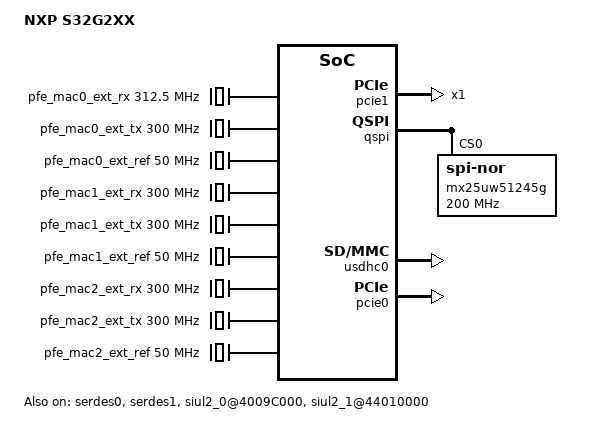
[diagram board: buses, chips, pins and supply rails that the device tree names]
// SPDX-License-Identifier: GPL-2.0+
/*
 * Copyright 2017-2021 NXP
 *
 * This program is free software; you can redistribute it and/or modify
 * it under the terms of the GNU General Public License as published by
 * the Free Software Foundation; either version 2 of the License, or
 * (at your option) any later version.
 */
#include <dt-bindings/clock/s32g-clock.h>
#include <dt-bindings/clock/s32g-scmi-clock.h>
#include <dt-bindings/pinctrl/s32g-pinctrl.h>

/dts-v1/;
#include "fsl-s32-gen1.dtsi"
/ {
	model = "NXP S32G2XX";
	compatible = "fsl,s32g", "fsl,s32gen1", "arm,vexpress,v2p-aarch64",
				"arm,vexpress";

	aliases {
		pcie1 = &pcie1;
	};

	signature {
		key-boot_key {
			required = "conf";
			algo = "sha1,rsa2048";
			key-name-hint = "boot_key";
		};
	};

	serdes1: serdes@44180000 {
		compatible = "fsl,s32gen1-serdes";
		reg = <0x00 0x44100000 0x0 0x80000   /* dbi registers */
		       0x00 0x44180000 0x0 0x04000>; /* serdes registers */
		reg-names = "dbi", "ss";
		#address-cells = <3>;
		#size-cells = <2>;
		device_type = "pci-generic";
		device_id = <1>;
		num-lanes = <2>; /* supports max 2 lanes */
		clocks = <&clks S32GEN1_SCMI_CLK_SERDES_REF>;

		assigned-clocks =
			<&clks S32G_CLK_SERDES1_LANE0_TX>,
			<&clks S32G_CLK_SERDES1_LANE0_CDR>,
			<&clks S32G_CLK_SERDES1_LANE1_TX>,
			<&clks S32G_CLK_SERDES1_LANE1_CDR>;
		assigned-clock-parents =
			<&serdes1_lane0_ext_tx 0>,
			<&serdes1_lane0_ext_cdr 0>,
			<&serdes1_lane1_ext_tx 0>,
			<&serdes1_lane1_ext_cdr 0>;

		status = "okay";
	};

	ddr: ddr@403C0000 {
		compatible = "fsl,s32gen1-ddr-err050543";
		/* Will be modified by ATF */
		status = "disabled";
	};

	pcie1: pcie@44100000 {
		compatible = "fsl,s32gen1-pcie";
		reg =
			<0x00 0x44100000 0x0 0x80000   /* dbi registers */
			/* configuration space, 4KB each for cfg0 and cfg1
			 * at the end of the outbound memory map
			 */
			0x4f 0xffffe000 0x0 0x00002000>;
		reg-names = "dbi", "config";
		#address-cells = <3>;
		#size-cells = <2>;
		device_type = "pci";
		serdes-handle = <&serdes1>;
		device_id = <1>;
		num-lanes = <1>; /* supports max 1 pcie lane */
		link-speed = <3>; /* supports Gen3 speed */
		bus-range = <0x0 0xff>;
		ranges =
			/* downstream I/O, 64KB and aligned naturally just before
			 * the config space to minimize fragmentation
			 */
			<0x81000000 0x0 0x00000000 0x4f 0xfffe0000 0x0 0x00010000
			/* non-prefetchable memory, with best case size
			 * and alignment
			 */
			 0x82000000 0x0 0x00000000 0x48 0x00000000 0x7 0xfffe0000>;
		status = "disabled";
	};

	pfe_mac0_ext_rx: pfe_mac0_ext_rx@0 {
		compatible = "fixed-clock";
		clock-frequency = <312500000>;
		#clock-cells = <1>;
	};

	pfe_mac0_ext_tx: pfe_mac0_ext_tx@0 {
		compatible = "fixed-clock";
		clock-frequency = <300000000>;
		#clock-cells = <1>;
	};

	pfe_mac0_ext_ref: pfe_mac0_ext_ref@0 {
		compatible = "fixed-clock";
		clock-frequency = <50000000>;
		#clock-cells = <1>;
	};

	pfe_mac1_ext_rx: pfe_mac1_ext_rx@0 {
		compatible = "fixed-clock";
		clock-frequency = <300000000>;
		#clock-cells = <1>;
	};

	pfe_mac1_ext_tx: pfe_mac1_ext_tx@0 {
		compatible = "fixed-clock";
		clock-frequency = <300000000>;
		#clock-cells = <1>;
	};

	pfe_mac1_ext_ref: pfe_mac1_ext_ref@0 {
		compatible = "fixed-clock";
		clock-frequency = <50000000>;
		#clock-cells = <1>;
	};

	pfe_mac2_ext_rx: pfe_mac2_ext_rx@0 {
		compatible = "fixed-clock";
		clock-frequency = <300000000>;
		#clock-cells = <1>;
	};

	pfe_mac2_ext_tx: pfe_mac2_ext_tx@0 {
		compatible = "fixed-clock";
		clock-frequency = <300000000>;
		#clock-cells = <1>;
	};

	pfe_mac2_ext_ref: pfe_mac2_ext_ref@0 {
		compatible = "fixed-clock";
		clock-frequency = <50000000>;
		#clock-cells = <1>;
	};

	pfe: ethernet@46080000 {
		compatible = "fsl,s32g274a-pfe";
		reg = <0x0 0x46000000 0x0 0x1000000>;
		clocks = <&clks S32G_SCMI_CLK_PFE_PE>,
			/* PFE0 */
			<&clks S32G_SCMI_CLK_PFE0_RX_SGMII>,
			<&clks S32G_SCMI_CLK_PFE0_TX_SGMII>,
			<&clks S32G_SCMI_CLK_PFE0_RX_RGMII>,
			<&clks S32G_SCMI_CLK_PFE0_TX_RGMII>,
			/* PFE1 */
			<&clks S32G_SCMI_CLK_PFE1_RX_SGMII>,
			<&clks S32G_SCMI_CLK_PFE1_TX_SGMII>,
			<&clks S32G_SCMI_CLK_PFE1_RX_RGMII>,
			<&clks S32G_SCMI_CLK_PFE1_TX_RGMII>,
			/* PFE2 */
			<&clks S32G_SCMI_CLK_PFE2_RX_SGMII>,
			<&clks S32G_SCMI_CLK_PFE2_TX_SGMII>,
			<&clks S32G_SCMI_CLK_PFE2_RX_RGMII>,
			<&clks S32G_SCMI_CLK_PFE2_TX_RGMII>;
		clock-names = "pe",
			"mac0_rx_sgmii", "mac0_tx_sgmii",
			"mac0_rx_rgmii", "mac0_tx_rgmii",
			"mac1_rx_sgmii", "mac1_tx_sgmii",
			"mac1_rx_rgmii", "mac1_tx_rgmii",
			"mac2_rx_sgmii", "mac2_tx_sgmii",
			"mac2_rx_rgmii", "mac2_tx_rgmii";
		pinctrl-0 = <&pinctrl0_pfe0 &pinctrl0_pfe0_mdio &pinctrl1_pfe0
			&pinctrl1_pfe0_mdio>;
		pinctrl-1 = <&pinctrl0_pfe0_mdio &pinctrl1_pfe0_mdio>;
		pinctrl-2 = <&pinctrl0_pfe1 &pinctrl0_pfe1_mdio &pinctrl1_pfe1
			&pinctrl1_pfe1_mdio>;
		pinctrl-3 = <&pinctrl0_pfe1_mdio &pinctrl1_pfe1_mdio>;
		pinctrl-4 = <&pinctrl0_pfe2 &pinctrl0_pfe2_mdio &pinctrl1_pfe2
			&pinctrl1_pfe2_mdio>;
		pinctrl-5 = <&pinctrl0_pfe2_mdio &pinctrl1_pfe2_mdio>;
		pinctrl-names = "pfe0_rgmii", "pfe0_sgmii",
			"pfe1_rgmii", "pfe1_sgmii",
			"pfe2_rgmii", "pfe2_sgmii";
		status = "disabled";
	};

	siul2_0@4009C000 {
		compatible = "simple-mfd";
		status = "okay";
		reg = <0x0 0x4009C000 0x0 0x2000>;

		pinctrl0: siul2-pinctrl0 {
			compatible = "fsl,s32-gen1-siul2-pinctrl";
			#pinctrl-cells = <2>;
			/* MSCR range */
			pins = <&pinctrl0 0 101>,
			/* IMCR range */
			<&pinctrl0 512 595>;
			status = "okay";
		};

		gpio0: siul2-gpio0 {
			compatible = "fsl,s32-gen1-siul2-gpio";
			#gpio-cells = <2>;
			gpio-controller;
			gpio-ranges = <&pinctrl0 0 0 102>;
			status = "okay";
		};
	};

	siul2_1@44010000 {
		compatible = "simple-mfd";
		status = "okay";
		reg = <0x0 0x44010000 0x0 0x2000>;

		pinctrl1: siul2-pinctrl1 {
			compatible = "fsl,s32-gen1-siul2-pinctrl";
			#pinctrl-cells = <2>;
			/* MSCR range */
			pins = <&pinctrl1 112 190>,
			/* IMCR range */
			<&pinctrl1 631 1023>;
			status = "okay";
		};

		gpio1: siul2-gpio1 {
			compatible = "fsl,s32-gen1-siul2-gpio";
			#gpio-cells = <2>;
			gpio-controller;
			gpio-ranges = <&pinctrl1 0 112 11>,
				<&pinctrl1 11 144 47>;
			status = "okay";
		};
	};
};

&clks {
	clocks = <&clks S32GEN1_SCMI_CLK_FTM0_SYS>,
		<&clks S32GEN1_SCMI_CLK_FTM1_SYS>,
		<&clks S32GEN1_SCMI_CLK_FTM0_EXT>,
		<&clks S32GEN1_SCMI_CLK_FTM1_EXT>,
		<&clks S32GEN1_SCMI_CLK_FLEXCAN_CAN>,
		<&clks S32GEN1_SCMI_CLK_SPI_REG>,
		<&clks S32GEN1_SCMI_CLK_QSPI_FLASH1X>;

	mc_cgm2: mc_cgm2@44018000 {
		compatible = "fsl,s32gen1-mc_cgm2";
		reg = <0x0 0x44018000 0x0 0x3000>;

		assigned-clocks =
			<&clks S32G_CLK_PFE_MAC0_EXT_REF>,
			<&clks S32G_CLK_PFE_MAC1_EXT_REF>,
			<&clks S32G_CLK_PFE_MAC2_EXT_REF>,
			<&clks S32G_CLK_MC_CGM2_MUX0>,
			/* PFE MAC0 */
			<&clks S32G_CLK_MC_CGM2_MUX7>,
			<&clks S32G_CLK_MC_CGM2_MUX4>,
			<&clks S32G_CLK_MC_CGM2_MUX1>,
			/* PFE MAC1 */
			<&clks S32G_CLK_MC_CGM2_MUX8>,
			<&clks S32G_CLK_MC_CGM2_MUX5>,
			<&clks S32G_CLK_MC_CGM2_MUX2>,
			/* PFE MAC2 */
			<&clks S32G_CLK_MC_CGM2_MUX9>,
			<&clks S32G_CLK_MC_CGM2_MUX6>,
			<&clks S32G_CLK_MC_CGM2_MUX3>,

			<&clks S32G_CLK_PFE_PE>,
			<&clks S32G_CLK_PFE_MAC0_REF_DIV>,
			<&clks S32G_CLK_PFE_MAC0_RX>,
			<&clks S32G_CLK_PFE_MAC0_TX_DIV>,
			<&clks S32G_CLK_PFE_MAC1_REF_DIV>,
			<&clks S32G_CLK_PFE_MAC1_RX>,
			<&clks S32G_CLK_PFE_MAC1_TX>,
			<&clks S32G_CLK_PFE_MAC2_REF_DIV>,
			<&clks S32G_CLK_PFE_MAC2_RX>,
			<&clks S32G_CLK_PFE_MAC2_TX>;
		assigned-clock-parents =
			<&pfe_mac0_ext_ref 0>,
			<&pfe_mac1_ext_ref 0>,
			<&pfe_mac2_ext_ref 0>,
			<&clks S32G_CLK_ACCEL_PLL_PHI1>,
			/* PFE MAC0 */
			<&clks S32G_CLK_PFE_MAC0_EXT_REF>,
			<&clks S32G_CLK_SERDES1_LANE0_CDR>,
			<&clks S32G_CLK_SERDES1_LANE0_TX>,
			/* PFE MAC1 */
			<&clks S32G_CLK_PFE_MAC1_EXT_REF>,
			<&clks S32G_CLK_SERDES1_LANE1_CDR>,
			<&clks S32G_CLK_SERDES1_LANE1_TX>,
			/* PFE MAC2 */
			<&clks S32G_CLK_PFE_MAC2_EXT_REF>,
			<&clks S32G_CLK_SERDES0_LANE1_CDR>,
			<&clks S32G_CLK_SERDES0_LANE1_TX>;
		assigned-clock-rates =
			<0>, <0>, <0>, <0>, <0>, <0>, <0>,
			<0>, <0>, <0>, <0>, <0>, <0>,
			<600000000>,
			<50000000>,
			<125000000>,
			<125000000>,
			<50000000>,
			<125000000>,
			<125000000>,
			<50000000>,
			<125000000>,
			<125000000>;

	};
};

&accelpll {
	assigned-clocks =
		<&clks S32GEN1_CLK_ACCEL_PLL_MUX>,
		<&clks S32GEN1_CLK_ACCEL_PLL_VCO>,
		<&clks S32G_CLK_ACCEL_PLL_PHI0>,
		<&clks S32G_CLK_ACCEL_PLL_PHI1>;
	assigned-clock-parents =
		<&clks S32GEN1_CLK_FXOSC>;
	assigned-clock-rates =
		<0>,
		<1800000000>,
		<600000000>,
		<600000000>;
};

&gmac0 {
	clocks = <&clks S32GEN1_SCMI_CLK_GMAC0_RX_SGMII>,
		 <&clks S32GEN1_SCMI_CLK_GMAC0_TX_SGMII>,
		 <&clks S32GEN1_SCMI_CLK_GMAC0_TS_SGMII>,
		 <&clks S32GEN1_SCMI_CLK_GMAC0_RX_RGMII>,
		 <&clks S32GEN1_SCMI_CLK_GMAC0_TX_RGMII>,
		 <&clks S32GEN1_SCMI_CLK_GMAC0_TS_RGMII>,
		 <&clks S32GEN1_SCMI_CLK_GMAC0_AXI>;
	clock-names = "rx_sgmii", "tx_sgmii", "ts_sgmii",
		      "rx_rgmii", "tx_rgmii", "ts_rgmii",
		      "axi";
	pinctrl-0 = <&pinctrl0_gmac0 &pinctrl0_gmac0_mdio>;
	pinctrl-1 = <&pinctrl0_gmac0_mdio>;
	pinctrl-names = "gmac_rgmii", "gmac_sgmii";
};

&qspi {
	status = "okay";

	mx25uw51245g@0 {
		#address-cells = <1>;
		#size-cells = <1>;
		compatible = "jedec,spi-nor";
		spi-max-frequency = <200000000>;
		spi-tx-bus-width = <8>;
		spi-rx-bus-width = <8>;
		reg = <0>;
	};
};

&usdhc0 {
	status = "okay";
};

&pcie0 {
	status = "okay";

	link-speed = <3>; /* Gen3 */
};

&pcie1 {
	status = "okay";

	link-speed = <2>; /* Gen2 */
};

&serdes0 {
	assigned-clocks =
		<&clks S32GEN1_CLK_SERDES0_LANE0_TX>,
		<&clks S32GEN1_CLK_SERDES0_LANE0_CDR>,
		<&clks S32G_CLK_SERDES0_LANE1_TX>,
		<&clks S32G_CLK_SERDES0_LANE1_CDR>;

	assigned-clock-parents =
		<&serdes0_lane0_ext_tx 0>,
		<&serdes0_lane0_ext_cdr 0>,
		<&serdes0_lane1_ext_tx 0>,
		<&serdes0_lane1_ext_cdr 0>;

	status = "okay";
};

&pinctrl0 {
	board_generic_pinctrl0 {
		pinctrl0_gmac0_mdio: pinctrl0_gmac0_mdio {
			fsl,pins = <PD12_MSCR_S32G PD12_GMAC0_MDC_CFG
				    PD13_MSCR_S32G PD13_GMAC0_MDIO_CFG
				    GMAC0_MDIO_IMCR PD13_GMAC0_MDIO_IN
				    >;
		};

		pinctrl0_gmac0: pinctrl0_gmac0 {
			fsl,pins = <PE02_MSCR_S32G PE02_GMAC0_TX_CLK_CFG
				    PE03_MSCR_S32G PE03_GMAC0_TX_EN_CFG
				    PE04_MSCR_S32G PE04_GMAC0_TX_D0_CFG
				    PE05_MSCR_S32G PE05_GMAC0_TX_D1_CFG
				    PE06_MSCR_S32G PE06_GMAC0_TX_D2_CFG
				    PE07_MSCR_S32G PE07_GMAC0_TX_D3_CFG
				    PE08_MSCR_S32G PE08_GMAC0_RX_CLK_CFG
				    PE09_MSCR_S32G PE09_GMAC0_RX_DV_CFG
				    PE10_MSCR_S32G PE10_GMAC0_RX_D0_CFG
				    PE11_MSCR_S32G PE11_GMAC0_RX_D1_CFG
				    PE12_MSCR_S32G PE12_GMAC0_RX_D2_CFG
				    PE13_MSCR_S32G PE13_GMAC0_RX_D3_CFG
				    GMAC0_TX_CLK_IMCR PE02_GMAC0_TX_CLK_IN
				    GMAC0_RX_CLK_IMCR PE08_GMAC0_RX_CLK_IN
				    GMAC0_RX_DV_IMCR PE09_GMAC0_RX_DV_IN
				    GMAC0_RX_D0_IMCR PE10_GMAC0_RX_D0_IN
				    GMAC0_RX_D1_IMCR PE11_GMAC0_RX_D1_IN
				    GMAC0_RX_D2_IMCR PE12_GMAC0_RX_D2_IN
				    GMAC0_RX_D3_IMCR PE13_GMAC0_RX_D3_IN
				    >;
		};

		pinctrl0_pfe0_mdio: pinctrl0_pfe0_mdio {
			fsl,pins = <PE15_MSCR_S32G PE15_PFE0_MDIO_CFG
				    PF02_MSCR_S32G PF02_PFE0_MDC_CFG
				    >;
		};

		pinctrl0_pfe0: pinctrl0_pfe0 {
			fsl,pins = <PE14_MSCR_S32G PE14_PFE0_TX_EN_CFG>;
		};

		pinctrl0_pfe1_mdio: pinctrl0_pfe1_mdio {
			fsl,pins = <PD12_MSCR_S32G PD12_PFE1_MDC_CFG
				    PD13_MSCR_S32G PD13_PFE1_MDIO_CFG
				    >;
		};

		pinctrl0_pfe1: pinctrl0_pfe1 {
			fsl,pins = <PE02_MSCR_S32G PE02_PFE1_TX_CLK_CFG
				    PE03_MSCR_S32G PE03_PFE1_TX_EN_CFG
				    PE04_MSCR_S32G PE04_PFE1_TX_D0_CFG
				    PE05_MSCR_S32G PE05_PFE1_TX_D1_CFG
				    PE06_MSCR_S32G PE06_PFE1_TX_D2_CFG
				    PE07_MSCR_S32G PE07_PFE1_TX_D3_CFG
				    PE08_MSCR_S32G PE08_PFE1_RX_CLK_CFG
				    PE09_MSCR_S32G PE09_PFE1_RX_DV_CFG
				    PE10_MSCR_S32G PE10_PFE1_RX_D0_CFG
				    PE11_MSCR_S32G PE11_PFE1_RX_D1_CFG
				    PE12_MSCR_S32G PE12_PFE1_RX_D2_CFG
				    PE13_MSCR_S32G PE13_PFE1_RX_D3_CFG
				    >;
		};

		pinctrl0_pfe2_mdio: pinctrl0_pfe2_mdio {
			fsl,pins = <PE15_MSCR_S32G PE15_PFE2_MDIO_CFG
				    PF02_MSCR_S32G PF02_PFE2_MDC_CFG
				    >;
		};

		pinctrl0_pfe2: pinctrl0_pfe2 {
			fsl,pins = <PE14_MSCR_S32G PE14_PFE2_TX_EN_CFG>;
		};
	};
};

&pinctrl1 {
	board_generic_pinctrl1 {
		pinctrl1_pfe0_mdio: pinctrl1_pfe0_mdio {
			fsl,pins = <PFE0_MDIO_IMCR PE15_PFE0_MDIO_IN>;
		};

		pinctrl1_pfe0: pinctrl1_pfe0 {
			fsl,pins = <PH01_MSCR_S32G PH01_PFE0_TX_D1_CFG
				    PH02_MSCR_S32G PH02_PFE0_TX_D2_CFG
				    PH03_MSCR_S32G PH03_PFE0_TX_D3_CFG
				    PH04_MSCR_S32G PH04_PFE0_RX_CLK_CFG
				    PH05_MSCR_S32G PH05_PFE0_RX_DV_CFG
				    PH06_MSCR_S32G PH06_PFE0_RX_D0_CFG
				    PH07_MSCR_S32G PH07_PFE0_RX_D1_CFG
				    PH08_MSCR_S32G PH08_PFE0_RX_D2_CFG
				    PH09_MSCR_S32G PH09_PFE0_RX_D3_CFG
				    PH10_MSCR_S32G PH10_PFE0_TX_CLK_CFG
				    PJ00_MSCR_S32G PJ00_PFE0_TX_D0_CFG
				    PFE0_RX_CLK_IMCR PH04_PFE0_RX_CLK_IN
				    PFE0_RX_DV_IMCR PH05_PFE0_RX_DV_IN
				    PFE0_RX_D0_IMCR PH06_PFE0_RX_D0_IN
				    PFE0_RX_D1_IMCR PH07_PFE0_RX_D1_IN
				    PFE0_RX_D2_IMCR PH08_PFE0_RX_D2_IN
				    PFE0_RX_D3_IMCR PH09_PFE0_RX_D3_IN
				    >;
		};

		pinctrl1_pfe1_mdio: pinctrl1_pfe1_mdio {
			fsl,pins = <PFE1_MDIO_IMCR PD13_PFE1_MDIO_IN>;
		};

		pinctrl1_pfe1: pinctrl1_pfe1 {
			fsl,pins = <PFE1_RX_CLK_IMCR PE08_PFE1_RX_CLK_IN
				    PFE1_RX_DV_IMCR PE09_PFE1_RX_DV_IN
				    PFE1_RX_D0_IMCR PE10_PFE1_RX_D0_IN
				    PFE1_RX_D1_IMCR PE11_PFE1_RX_D1_IN
				    PFE1_RX_D2_IMCR PE12_PFE1_RX_D2_IN
				    PFE1_RX_D3_IMCR PE13_PFE1_RX_D3_IN
				    >;
		};

		pinctrl1_pfe2_mdio: pinctrl1_pfe2_mdio {
			fsl,pins = <PFE2_MDIO_IMCR PE15_PFE2_MDIO_IN
				    >;
		};

		pinctrl1_pfe2: pinctrl1_pfe2 {
			fsl,pins = <PH01_MSCR_S32G PH01_PFE2_TX_D1_CFG
				    PH02_MSCR_S32G PH02_PFE2_TX_D2_CFG
				    PH03_MSCR_S32G PH03_PFE2_TX_D3_CFG
				    PH04_MSCR_S32G PH04_PFE2_RX_CLK_CFG
				    PH05_MSCR_S32G PH05_PFE2_RX_DV_CFG
				    PH06_MSCR_S32G PH06_PFE2_RX_D0_CFG
				    PH07_MSCR_S32G PH07_PFE2_RX_D1_CFG
				    PH08_MSCR_S32G PH08_PFE2_RX_D2_CFG
				    PH09_MSCR_S32G PH09_PFE2_RX_D3_CFG
				    PH10_MSCR_S32G PH10_PFE2_TX_CLK_CFG
				    PJ00_MSCR_S32G PJ00_PFE2_TX_D0_CFG
				    PFE2_RX_CLK_IMCR PH04_PFE2_RX_CLK_IN
				    PFE2_RX_DV_IMCR PH05_PFE2_RX_DV_IN
				    PFE2_RX_D0_IMCR PH06_PFE2_RX_D0_IN
				    PFE2_RX_D1_IMCR PH07_PFE2_RX_D1_IN
				    PFE2_RX_D2_IMCR PH08_PFE2_RX_D2_IN
				    PFE2_RX_D3_IMCR PH09_PFE2_RX_D3_IN
				    >;
		};
	};
};
